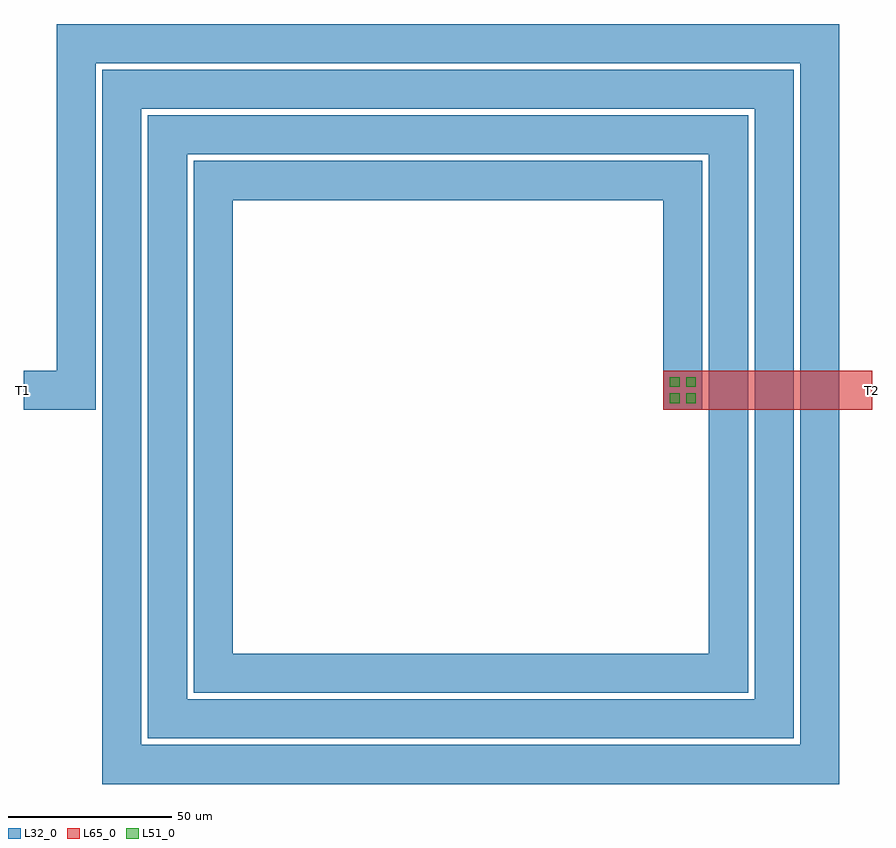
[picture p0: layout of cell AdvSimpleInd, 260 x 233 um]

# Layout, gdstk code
import gdstk
lib = gdstk.Library(unit=1e-6, precision=1e-09)
def R(c, l, rs):  # rectangles x0, y0, x1, y1
    for r in rs: c.add(gdstk.rectangle(r[:2], r[2:], *l))
def P(c, l, *ps):  # polygons
    for p in ps: c.add(gdstk.Polygon(p, *l))
L32_0 = (32, 0)
L51_0 = (51, 0)
L65_0 = (65, 0)

advsimpleind = lib.new_cell('AdvSimpleInd')
R(advsimpleind, L32_0, [(-131.75,0,-115.75,12), (64.25,0,76.25,12), (-131.75,5,-129.75,7)])
P(advsimpleind, L32_0, [(64.25,0),(64.25,64.25),(-67.75,64.25),(-67.75,-74.75),(78.25,-74.75),(78.25,78.25),(-81.75,78.25),(-81.75,-88.75),(92.25,-88.75),(92.25,92.25),(-95.75,92.25),(-95.75,-102.75),(106.25,-102.75),(106.25,106.25),(-109.75,106.25),(-109.75,0),(-121.75,0),(-121.75,118.25),(118.25,118.25),(118.25,-114.75),(-107.75,-114.75),(-107.75,104.25),(104.25,104.25),(104.25,-100.75),(-93.75,-100.75),(-93.75,90.25),(90.25,90.25),(90.25,-86.75),(-79.75,-86.75),(-79.75,76.25),(76.25,76.25),(76.25,0)])
R(advsimpleind, L51_0, [(66.25,2,69.25,5), (71.25,2,74.25,5), (66.25,7,69.25,10), (71.25,7,74.25,10)])
R(advsimpleind, L65_0, [(64.25,0,128.25,12), (64.25,0,76.25,12), (126.25,5,128.25,7)])
advsimpleind.add(gdstk.Label('T1', (-131.75,6), layer=32, texttype=0))
advsimpleind.add(gdstk.Label('T2', (128.25,6), layer=65, texttype=0))

lib.write_gds('AdvSimpleInd.gds')
